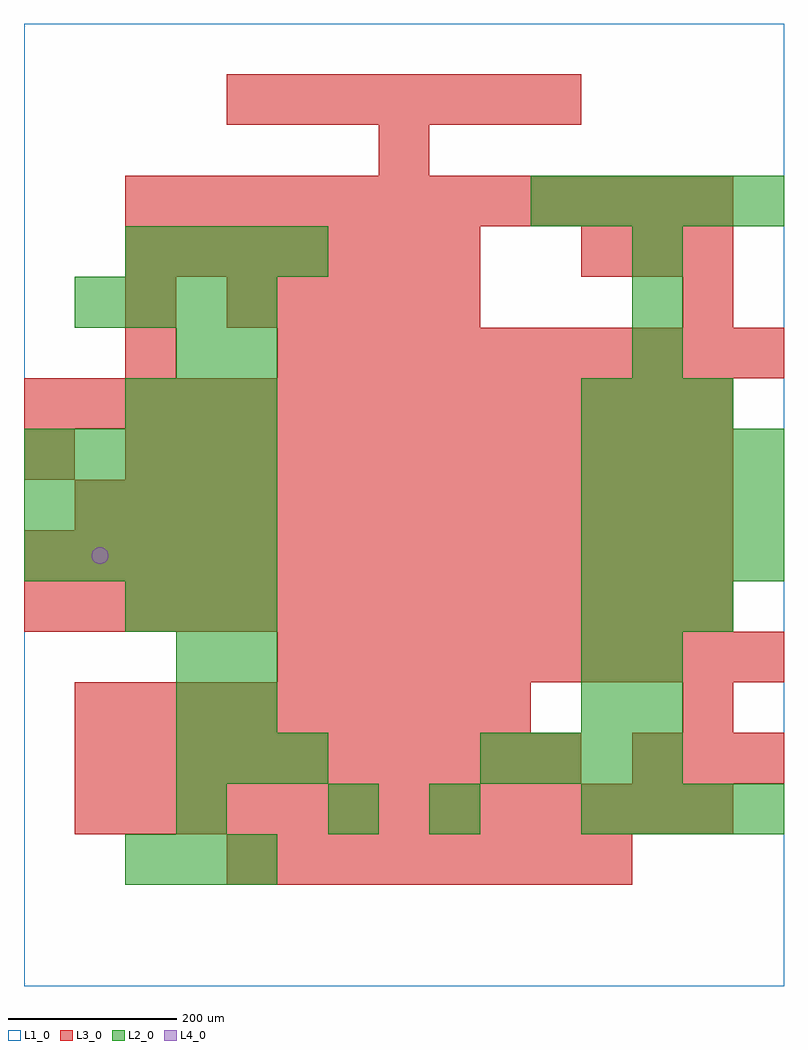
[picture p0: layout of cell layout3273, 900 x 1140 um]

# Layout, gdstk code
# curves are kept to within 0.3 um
import gdstk
lib = gdstk.Library(unit=1e-6, precision=1e-09)
def R(c, l, rs):  # rectangles x0, y0, x1, y1
    for r in rs: c.add(gdstk.rectangle(r[:2], r[2:], *l))
def A(c, l, x, y, w, h, nx, ny, dx, dy):  # array of equal rectangles
    R(c, l, [(x+i*dx, y+j*dy, x+i*dx+w, y+j*dy+h) for i in range(nx) for j in range(ny)])
def P(c, l, *ps):  # polygons
    for p in ps: c.add(gdstk.Polygon(p, *l))
L1_0 = (1, 0)
L2_0 = (2, 0)
L3_0 = (3, 0)
L4_0 = (4, 0)

layout3273 = lib.new_cell('layout3273')
R(layout3273, L1_0, [(0,0,900,1140)])
A(layout3273, L2_0, 120, 120, 60, 60, 3, 2, 60, 300)
A(layout3273, L2_0, 660, 180, 60, 60, 4, 2, 60, 300)
A(layout3273, L2_0, 180, 240, 60, 60, 3, 1, 60, 0)
A(layout3273, L2_0, 540, 240, 60, 60, 4, 1, 60, 0)
A(layout3273, L2_0, 660, 420, 60, 60, 3, 2, 60, 240)
A(layout3273, L2_0, 0, 480, 60, 60, 5, 3, 60, 60)
A(layout3273, L2_0, 660, 540, 60, 60, 4, 2, 60, 60)
A(layout3273, L2_0, 120, 660, 60, 60, 3, 1, 60, 0)
A(layout3273, L2_0, 720, 720, 60, 60, 1, 3, 0, 60)
A(layout3273, L2_0, 60, 780, 60, 60, 4, 1, 60, 0)
A(layout3273, L2_0, 120, 840, 60, 60, 4, 1, 60, 0)
A(layout3273, L2_0, 600, 900, 60, 60, 5, 1, 60, 0)
R(layout3273, L2_0, [(180,180,240,240), (360,180,420,240), (480,180,540,240), (180,300,240,360), (240,300,300,360), (660,300,720,360), (720,300,780,360), (180,360,240,420), (240,360,300,420), (660,360,720,420), (720,360,780,420), (180,720,240,780), (240,720,300,780)])
A(layout3273, L3_0, 240, 120, 60, 60, 8, 1, 60, 0)
A(layout3273, L3_0, 60, 180, 60, 60, 13, 2, 60, 360)
A(layout3273, L3_0, 60, 240, 60, 60, 10, 1, 60, 0)
A(layout3273, L3_0, 720, 240, 60, 60, 3, 1, 60, 0)
A(layout3273, L3_0, 60, 300, 60, 60, 9, 1, 60, 0)
A(layout3273, L3_0, 300, 360, 60, 60, 10, 2, 60, 360)
A(layout3273, L3_0, 0, 420, 60, 60, 14, 2, 60, 60)
A(layout3273, L3_0, 120, 600, 60, 60, 12, 2, 60, 300)
A(layout3273, L3_0, 0, 660, 60, 60, 14, 1, 60, 0)
A(layout3273, L3_0, 240, 780, 60, 60, 5, 1, 60, 0)
A(layout3273, L3_0, 120, 840, 60, 60, 7, 1, 60, 0)
A(layout3273, L3_0, 660, 840, 60, 60, 3, 1, 60, 0)
A(layout3273, L3_0, 240, 1020, 60, 60, 7, 1, 60, 0)
R(layout3273, L3_0, [(780,300,840,360), (0,600,60,660), (120,720,180,780), (120,780,180,840), (780,780,840,840), (420,960,480,1020)])
P(layout3273, L4_0, [(100,510),(99.239,513.827),(97.071,517.071),(93.827,519.239),(90,520),(86.173,519.239),(82.929,517.071),(80.761,513.827),(80,510),(80.761,506.173),(82.929,502.929),(86.173,500.761),(90,500),(93.827,500.761),(97.071,502.929),(99.239,506.173)])

lib.write_gds('layout3273.gds')
